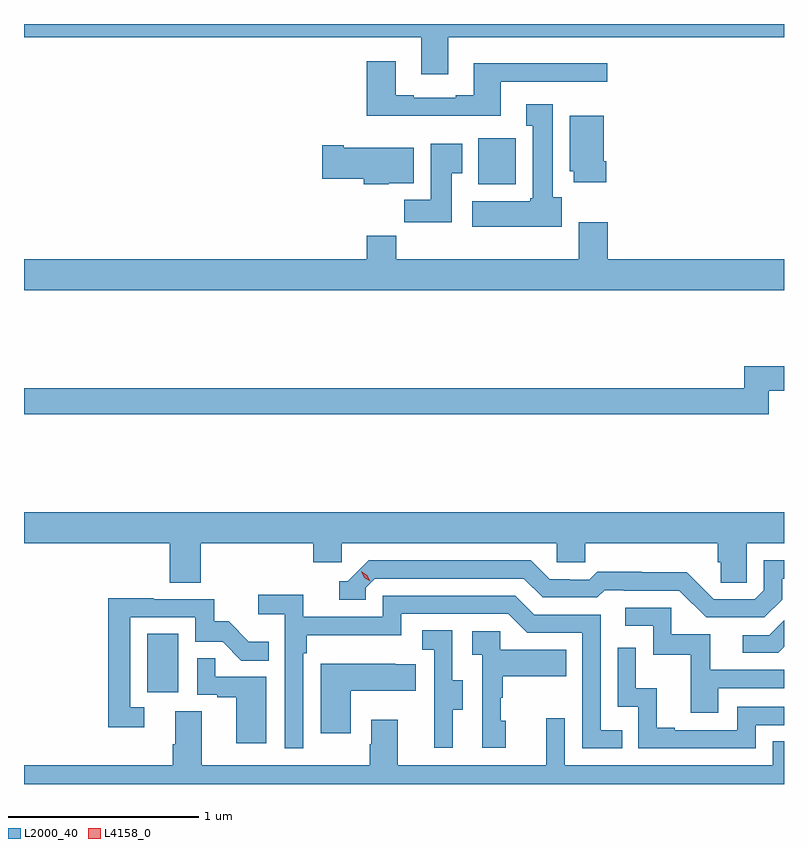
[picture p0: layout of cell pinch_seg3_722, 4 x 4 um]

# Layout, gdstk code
import gdstk
lib = gdstk.Library(unit=1e-6, precision=1e-09)
def R(c, l, rs):  # rectangles x0, y0, x1, y1
    for r in rs: c.add(gdstk.rectangle(r[:2], r[2:], *l))
def P(c, l, *ps):  # polygons
    for p in ps: c.add(gdstk.Polygon(p, *l))
L2000_40 = (2000, 40)
L4158_0 = (4158, 0)

pinch_seg3_722 = lib.new_cell('pinch_seg3_722')
R(pinch_seg3_722, L2000_40, [(875.498,742.758,875.662,743.065), (877.241,745.43,877.438,745.672)])
P(pinch_seg3_722, L2000_40, [(877.081,746.204),(878.849,746.204),(878.849,746.274),(874.849,746.274),(874.849,746.204),(876.941,746.204),(876.941,746.01),(877.081,746.01)],
  [(877.357,745.971),(877.918,745.971),(877.918,746.068),(877.217,746.068),(877.217,745.9),(877.121,745.9),(877.121,745.887),(876.901,745.887),(876.901,745.9),(876.805,745.9),(876.805,746.077),(876.653,746.077),(876.653,745.79),(877.357,745.79)],
  [(877.678,745.362),(877.633,745.362),(877.633,745.852),(877.493,745.852),(877.493,745.739),(877.526,745.739),(877.526,745.356),(877.513,745.356),(877.513,745.342),(877.209,745.342),(877.209,745.208),(877.678,745.208)],
  [(877.913,745.552),(877.9,745.552),(877.9,745.792),(877.721,745.792),(877.721,745.5),(877.742,745.5),(877.742,745.44),(877.913,745.44)],
  [(877.099,745.489),(877.156,745.489),(877.156,745.645),(876.989,745.645),(876.989,745.348),(876.85,745.348),(876.85,745.23),(877.099,745.23)],
  [(876.768,745.436),(876.901,745.436),(876.901,745.624),(876.532,745.624),(876.532,745.637),(876.42,745.637),(876.42,745.459),(876.638,745.459),(876.638,745.43),(876.768,745.43)],
  [(878.849,745.036),(877.922,745.036),(877.922,745.231),(877.769,745.231),(877.769,745.036),(876.809,745.036),(876.809,745.16),(876.653,745.16),(876.653,745.036),(874.849,745.036),(874.849,744.872),(878.849,744.872)],
  [(878.77,744.343),(878.849,744.343),(878.849,744.472),(878.641,744.472),(878.641,744.356),(874.849,744.356),(874.849,744.22),(878.77,744.22)],
  [(875.78,743.54),(876.371,743.54),(876.371,743.442),(876.522,743.442),(876.522,743.54),(877.653,743.54),(877.653,743.442),(877.803,743.442),(877.803,743.54),(878.501,743.54),(878.501,743.442),(878.515,743.442),(878.515,743.332),(878.652,743.332),(878.652,743.54),(878.849,743.54),(878.849,743.704),(874.849,743.704),(874.849,743.54),(875.615,743.54),(875.615,743.332),(875.78,743.332)],
  [(878.839,743.245),(878.839,743.355),(878.849,743.355),(878.849,743.451),(878.742,743.451),(878.742,743.295),(878.694,743.247),(878.478,743.247),(878.336,743.389),(878.1,743.389),(878.1,743.392),(877.867,743.392),(877.825,743.349),(877.722,743.349),(877.722,743.352),(877.615,743.352),(877.516,743.451),(876.663,743.451),(876.552,743.34),(876.509,743.34),(876.509,743.244),(876.648,743.244),(876.648,743.307),(876.696,743.355),(877.479,743.355),(877.578,743.256),(877.867,743.256),(877.906,743.295),(878.005,743.295),(878.005,743.292),(878.298,743.292),(878.439,743.151),(878.745,743.151)],
  [(876.318,742.961),(876.338,742.961),(876.338,743.057),(876.834,743.057),(876.834,743.169),(877.398,743.169),(877.497,743.07),(877.788,743.07),(877.788,742.461),(877.997,742.461),(877.997,742.557),(877.884,742.557),(877.884,743.166),(877.534,743.166),(877.435,743.265),(876.738,743.265),(876.738,743.154),(876.32,743.154),(876.32,743.27),(876.081,743.27),(876.081,743.168),(876.222,743.168),(876.222,742.461),(876.318,742.461)],
  [(875.482,742.677),(875.409,742.677),(875.409,743.151),(875.751,743.151),(875.751,743.022),(875.895,743.022),(875.993,742.924),(876.137,742.924),(876.137,743.023),(876.033,743.023),(875.926,743.13),(875.85,743.13),(875.85,743.247),(875.531,743.247),(875.531,743.252),(875.293,743.252),(875.293,742.572),(875.482,742.572)],
  [(878.503,742.779),(878.849,742.779),(878.849,742.875),(878.461,742.875),(878.461,743.061),(878.256,743.061),(878.256,743.202),(878.013,743.202),(878.013,743.106),(878.16,743.106),(878.16,742.953),(878.359,742.953),(878.359,742.65),(878.503,742.65)],
  [(878.849,742.996),(878.849,743.135),(878.772,743.058),(878.631,743.058),(878.631,742.965),(878.818,742.965)],
  [(877.105,742.666),(877.159,742.666),(877.159,742.821),(877.104,742.821),(877.104,743.084),(876.945,743.084),(876.945,742.981),(877.008,742.981),(877.008,742.677),(877.007,742.677),(877.007,742.464),(877.105,742.464)],
  [(877.384,742.608),(877.359,742.608),(877.359,742.727),(877.369,742.727),(877.369,742.841),(877.703,742.841),(877.703,742.981),(877.356,742.981),(877.356,743.079),(877.209,743.079),(877.209,742.955),(877.26,742.955),(877.26,742.464),(877.384,742.464)],
  [(878.7,742.584),(878.849,742.584),(878.849,742.68),(878.604,742.68),(878.604,742.557),(878.275,742.557),(878.275,742.57),(878.18,742.57),(878.18,742.778),(878.07,742.778),(878.07,742.99),(877.974,742.99),(877.974,742.68),(878.082,742.68),(878.082,742.461),(878.7,742.461)],
  [(876.124,742.839),(875.855,742.839),(875.855,742.937),(875.76,742.937),(875.76,742.743),(875.867,742.743),(875.867,742.731),(875.966,742.731),(875.966,742.488),(876.124,742.488)],
  [(876.568,742.766),(876.911,742.766),(876.911,742.903),(876.803,742.903),(876.803,742.906),(876.41,742.906),(876.41,742.542),(876.568,742.542)],
  [(878.849,742.499),(878.79,742.499),(878.79,742.372),(877.695,742.372),(877.695,742.621),(877.598,742.621),(877.598,742.372),(876.817,742.372),(876.817,742.612),(876.677,742.612),(876.677,742.484),(876.67,742.484),(876.67,742.372),(875.785,742.372),(875.785,742.658),(875.645,742.658),(875.645,742.484),(875.633,742.484),(875.633,742.372),(874.849,742.372),(874.849,742.274),(878.849,742.274)])
P(pinch_seg3_722, L4158_0, [(876.672,743.341),(876.641,743.36),(876.624,743.392),(876.624,743.393),(876.625,743.393),(876.656,743.374),(876.672,743.342),(876.672,743.341)])

lib.write_gds('pinch_seg3_722.gds')
